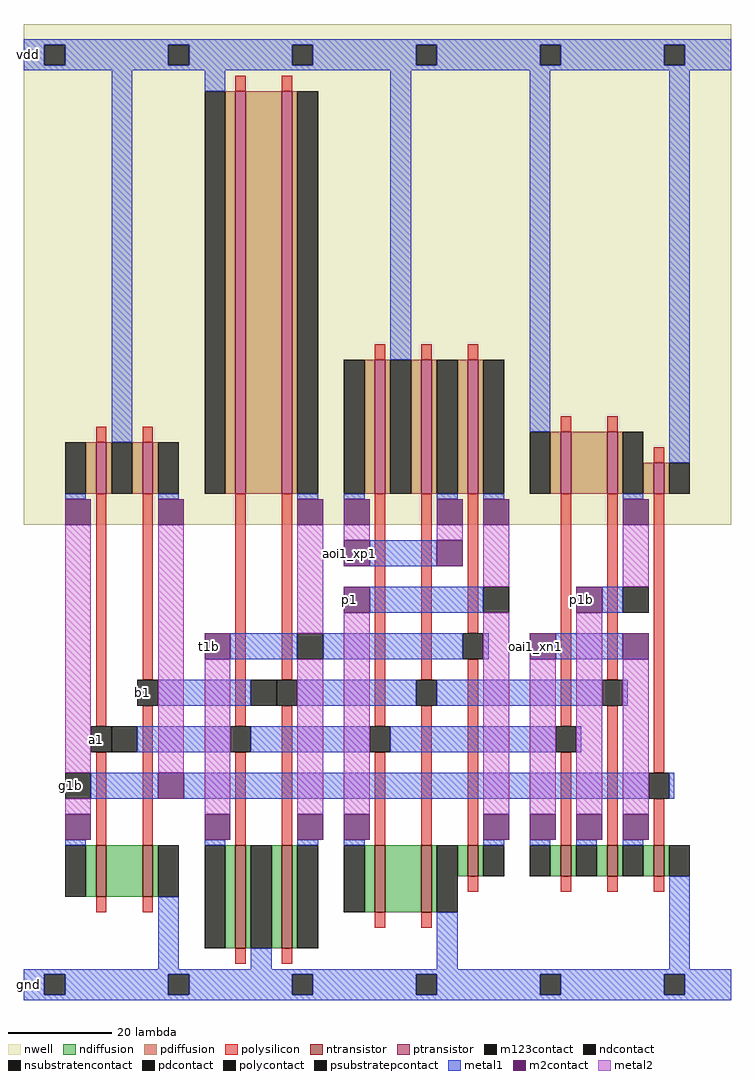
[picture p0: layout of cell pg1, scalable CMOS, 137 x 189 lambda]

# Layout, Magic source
magic
tech scmos
<< nwell >>
rect 0 92 137 189
<< ntransistor >>
rect 14 20 16 30
rect 23 20 25 30
rect 41 10 43 30
rect 50 10 52 30
rect 68 17 70 30
rect 77 17 79 30
rect 86 24 88 30
rect 104 24 106 30
rect 113 24 115 30
rect 122 24 124 30
<< ptransistor >>
rect 14 98 16 108
rect 23 98 25 108
rect 41 98 43 176
rect 50 98 52 176
rect 68 98 70 124
rect 77 98 79 124
rect 86 98 88 124
rect 104 98 106 110
rect 113 98 115 110
rect 122 98 124 104
<< ndiffusion >>
rect 12 20 14 30
rect 16 20 23 30
rect 25 20 26 30
rect 39 10 41 30
rect 43 10 44 30
rect 48 10 50 30
rect 52 10 53 30
rect 66 17 68 30
rect 70 17 77 30
rect 79 17 80 30
rect 84 24 86 30
rect 88 24 89 30
rect 102 24 104 30
rect 106 24 107 30
rect 111 24 113 30
rect 115 24 116 30
rect 120 24 122 30
rect 124 24 125 30
<< pdiffusion >>
rect 12 98 14 108
rect 16 98 17 108
rect 21 98 23 108
rect 25 98 26 108
rect 39 98 41 176
rect 43 98 50 176
rect 52 98 53 176
rect 66 98 68 124
rect 70 98 71 124
rect 75 98 77 124
rect 79 98 80 124
rect 84 98 86 124
rect 88 98 89 124
rect 102 98 104 110
rect 106 98 113 110
rect 115 98 116 110
rect 120 98 122 104
rect 124 98 125 104
<< ndcontact >>
rect 8 20 12 30
rect 26 20 30 30
rect 35 10 39 30
rect 44 10 48 30
rect 53 10 57 30
rect 62 17 66 30
rect 80 17 84 30
rect 89 24 93 30
rect 98 24 102 30
rect 107 24 111 30
rect 116 24 120 30
rect 125 24 129 30
<< pdcontact >>
rect 8 98 12 108
rect 17 98 21 108
rect 26 98 30 108
rect 35 98 39 176
rect 53 98 57 176
rect 62 98 66 124
rect 71 98 75 124
rect 80 98 84 124
rect 89 98 93 124
rect 98 98 102 110
rect 116 98 120 110
rect 125 98 129 104
<< psubstratepcontact >>
rect 4 1 8 5
rect 28 1 32 5
rect 52 1 56 5
rect 76 1 80 5
rect 100 1 104 5
rect 124 1 128 5
<< nsubstratencontact >>
rect 4 181 8 185
rect 28 181 32 185
rect 52 181 56 185
rect 76 181 80 185
rect 100 181 104 185
rect 124 181 128 185
<< polysilicon >>
rect 41 176 43 179
rect 50 176 52 179
rect 14 108 16 111
rect 23 108 25 111
rect 68 124 70 127
rect 77 124 79 127
rect 86 124 88 127
rect 104 110 106 113
rect 113 110 115 113
rect 122 104 124 107
rect 14 53 16 98
rect 23 62 25 98
rect 14 30 16 48
rect 23 30 25 57
rect 41 53 43 98
rect 50 62 52 98
rect 41 30 43 48
rect 50 30 52 57
rect 68 53 70 98
rect 77 62 79 98
rect 86 71 88 98
rect 68 30 70 48
rect 77 30 79 57
rect 86 30 88 66
rect 104 53 106 98
rect 113 62 115 98
rect 104 30 106 48
rect 113 30 115 57
rect 122 44 124 98
rect 122 30 124 39
rect 14 17 16 20
rect 23 17 25 20
rect 86 21 88 24
rect 104 21 106 24
rect 113 21 115 24
rect 122 21 124 24
rect 68 14 70 17
rect 77 14 79 17
rect 41 7 43 10
rect 50 7 52 10
<< polycontact >>
rect 22 57 26 62
rect 13 48 17 53
rect 49 57 53 62
rect 40 48 44 53
rect 85 66 89 71
rect 76 57 80 62
rect 67 48 71 53
rect 112 57 116 62
rect 103 48 107 53
rect 121 39 125 44
<< metal1 >>
rect 0 185 137 186
rect 0 181 4 185
rect 8 181 28 185
rect 32 181 52 185
rect 56 181 76 185
rect 80 181 100 185
rect 104 181 124 185
rect 128 181 137 185
rect 0 180 137 181
rect 17 108 21 180
rect 35 176 39 180
rect 71 124 75 180
rect 8 97 12 98
rect 26 97 30 98
rect 53 97 57 98
rect 62 97 66 98
rect 80 97 84 98
rect 98 110 102 180
rect 125 104 129 180
rect 89 97 93 98
rect 116 97 120 98
rect 67 84 80 89
rect 67 75 89 80
rect 112 75 116 80
rect 40 66 53 71
rect 58 66 85 71
rect 89 66 90 71
rect 103 66 116 71
rect 26 57 44 62
rect 53 57 76 62
rect 80 57 112 62
rect 116 57 117 62
rect 22 48 40 53
rect 44 48 67 53
rect 71 48 103 53
rect 107 48 108 53
rect 13 39 26 44
rect 31 39 121 44
rect 125 39 126 44
rect 8 30 12 31
rect 35 30 39 31
rect 53 30 57 31
rect 26 6 30 20
rect 62 30 66 31
rect 89 30 93 31
rect 98 30 102 31
rect 107 30 111 31
rect 116 30 120 31
rect 44 6 48 10
rect 80 6 84 17
rect 125 6 129 24
rect 0 5 137 6
rect 0 1 4 5
rect 8 1 28 5
rect 32 1 52 5
rect 56 1 76 5
rect 80 1 100 5
rect 104 1 124 5
rect 128 1 137 5
rect 0 0 137 1
<< m2contact >>
rect 8 92 13 97
rect 26 92 31 97
rect 53 92 58 97
rect 62 92 67 97
rect 80 92 85 97
rect 89 92 94 97
rect 116 92 121 97
rect 62 84 67 89
rect 80 84 85 89
rect 62 75 67 80
rect 107 75 112 80
rect 35 66 40 71
rect 98 66 103 71
rect 116 66 121 71
rect 26 39 31 44
rect 8 31 13 36
rect 35 31 40 36
rect 53 31 58 36
rect 62 31 67 36
rect 89 31 94 36
rect 98 31 103 36
rect 107 31 112 36
rect 116 31 121 36
<< metal2 >>
rect 8 44 13 92
rect 26 44 31 92
rect 53 71 58 92
rect 62 89 67 92
rect 80 89 85 92
rect 89 80 94 92
rect 116 80 121 92
rect 8 36 13 39
rect 35 36 40 66
rect 53 36 58 66
rect 62 36 67 75
rect 89 36 94 75
rect 98 36 103 66
rect 107 36 112 75
rect 116 36 121 66
<< m123contact >>
rect 17 48 22 53
rect 8 39 13 44
rect 53 66 58 71
rect 44 57 49 62
rect 89 75 94 80
rect 116 75 121 80
<< labels >>
rlabel metal1 13 48 15 53 0 a1
port 1 nsew
rlabel metal1 22 57 24 62 0 b1
port 2 nsew
rlabel metal1 8 39 10 44 0 g1b
port 3 nsew
rlabel m2contact 62 75 64 80 0 p1
port 4 nsew
rlabel m2contact 107 75 109 80 0 p1b
port 5 nsew
rlabel m2contact 35 66 37 71 0 t1b
port 6 nsew
rlabel m2contact 62 84 64 89 0 aoi1_xp1
rlabel m2contact 98 66 100 71 0 oai1_xn1
rlabel metal1 0 180 2 186 0 vdd
port 7 nsew
rlabel metal1 0 0 2 6 0 gnd
port 8 nsew
<< end >>
